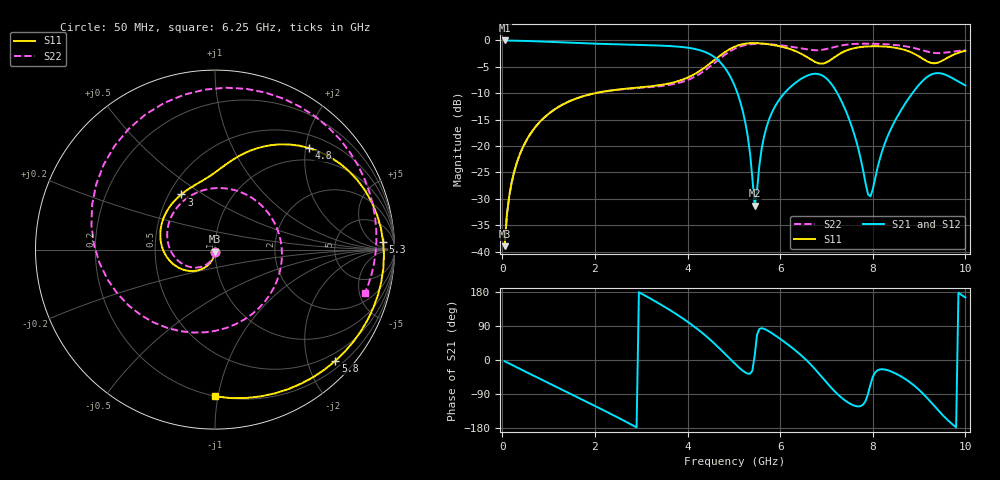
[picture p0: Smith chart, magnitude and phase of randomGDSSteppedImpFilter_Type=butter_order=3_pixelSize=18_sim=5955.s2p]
! freq	dB(S11)	phase(S11)	dB(S12)	phase(S12)
!  dB(S21)	phase(S21)	dB(S22)	phase(S22)
!S-par simulation data
#  GHz  S  DB  R 50
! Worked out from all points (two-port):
!   200 points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, 50 MHz to 10 GHz, reference 50 ohm
!   highest |S21| = -0.01 dB at 50 MHz (marker M1); lowest = -31.3 dB at 5.45 GHz (marker M2)
!   |S21| within 3 dB of the highest: start of sweep to 4.555 GHz
!   lowest |S11| = -39.0 dB at 50 MHz (marker M3), VSWR 1.02, Z = 49.9 - j1.13 ohm
!   |S11| at or under -10 dB: start of sweep to 1.998 GHz
!   |S22| runs from -38.9 to -0.6 dB; largest |S21 - S12| = 0
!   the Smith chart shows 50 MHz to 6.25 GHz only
!   S11 on the Smith chart (normalised r, x): 50 MHz: 1.00, -0.02; 3 GHz: 0.58, +0.41; 4.8 GHz: 0.74, +2.06; 5.3 GHz: 20, +15; 5.8 GHz: 0.34, -2.51; 6.25 GHz: 0.20, -0.98
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0.05  -38.96 -92.4  -0.01 -3.1  -0.01 -3.1  -38.89 -92.6
0.2  -27.01 -100.9  -0.03 -12.3  -0.03 -12.3  -27.00 -103.4
0.5  -19.26 -118.2  -0.10 -30.7  -0.10 -30.7  -19.27 -124.0
1.75  -10.55 176.5  -0.53 -106.0  -0.53 -106.0  -10.56 150.0
3  -8.87 121.4  -0.86 175.5  -0.86 175.5  -8.97 48.7
3.4  -8.46 106.7  -0.97 147.9  -0.97 147.9  -8.66 8.2
4.25  -5.85 78.8  -1.81 78.2  -1.81 78.2  -6.40 -105.0
4.8  -2.26 47.3  -5.11 17.2  -5.11 17.2  -2.75 160.1
5.05  -1.07 25.8  -9.31 -13.1  -9.31 -13.1  -1.44 117.2
5.3  -0.56 2.7  -18.15 -36.1  -18.15 -36.1  -0.80 79.0
5.45  -0.50 -11.0  -31.30 11.7  -31.30 11.7  -0.66 59.1
5.8  -0.79 -42.8  -14.09 72.5  -14.09 72.5  -0.74 20.6
6.25  -1.75 -90.0  -8.61 33.1  -8.61 33.1  -1.21 -16.0
6.7  -3.81 -169.1  -6.36 -17.0  -6.36 -17.0  -1.83 -41.0
7.05  -3.93 90.2  -7.64 -65.8  -7.64 -65.8  -1.52 -54.3
7.45  -1.85 5.4  -14.03 -110.9  -14.03 -110.9  -0.78 -73.8
7.95  -1.11 -53.2  -29.54 -64.9  -29.54 -64.9  -0.61 -98.4
8.35  -1.23 -90.7  -17.55 -28.2  -17.55 -28.2  -0.76 -116.6
8.95  -2.78 -168.2  -8.91 -73.3  -8.91 -73.3  -1.56 -142.8
9.35  -4.31 90.2  -6.22 -124.2  -6.22 -124.2  -2.39 -154.9
9.65  -3.11 16.8  -6.82 -162.2  -6.82 -162.2  -2.21 -163.7
10  -1.96 -32.0  -8.52 164.8  -8.52 164.8  -1.88 179.6
